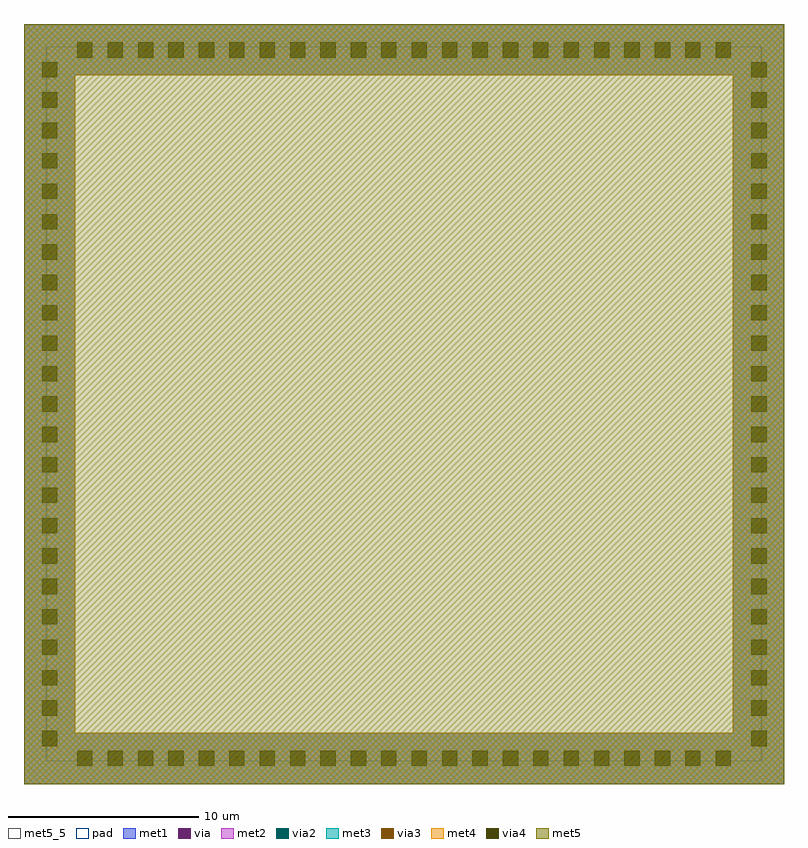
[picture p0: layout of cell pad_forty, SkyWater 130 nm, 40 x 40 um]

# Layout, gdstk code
import gdstk
lib = gdstk.Library(unit=1e-6, precision=1e-09)
def R(c, l, rs):  # rectangles x0, y0, x1, y1
    for r in rs: c.add(gdstk.rectangle(r[:2], r[2:], *l))
def A(c, l, x, y, w, h, nx, ny, dx, dy):  # array of equal rectangles
    R(c, l, [(x+i*dx, y+j*dy, x+i*dx+w, y+j*dy+h) for i in range(nx) for j in range(ny)])
met1 = (68, 20)
via = (68, 44)
met2 = (69, 20)
via2 = (69, 44)
met3 = (70, 20)
via3 = (70, 44)
met4 = (71, 20)
via4 = (71, 44)
met5_5 = (72, 5)
met5 = (72, 20)
pad = (76, 20)

pad_forty = lib.new_cell('pad_forty')
R(pad_forty, met1, [(0,0,40,2.7), (0,0,2.7,40), (37.3,0,40,40), (0,37.3,40,40)])
A(pad_forty, via, 3.125, 1.275, 0.15, 0.15, 22, 2, 1.6, 37.28)
A(pad_forty, via, 1.275, 2.325, 0.15, 0.15, 1, 23, 0, 1.6)
A(pad_forty, via, 38.605, 2.325, 0.15, 0.15, 1, 23, 0, 1.6)
R(pad_forty, met2, [(0,0,40,2.7), (0,0,2.7,40), (37.3,0,40,40), (0,37.3,40,40)])
A(pad_forty, via2, 3.1, 1.25, 0.2, 0.2, 22, 2, 1.6, 37.28)
A(pad_forty, via2, 1.25, 2.3, 0.2, 0.2, 1, 23, 0, 1.6)
A(pad_forty, via2, 38.58, 2.3, 0.2, 0.2, 1, 23, 0, 1.6)
R(pad_forty, met3, [(0,0,40,2.7), (0,0,2.7,40), (37.3,0,40,40), (0,37.3,40,40)])
A(pad_forty, via3, 3.1, 1.25, 0.2, 0.2, 22, 2, 1.6, 37.28)
A(pad_forty, via3, 1.25, 2.3, 0.2, 0.2, 1, 23, 0, 1.6)
A(pad_forty, via3, 38.58, 2.3, 0.2, 0.2, 1, 23, 0, 1.6)
R(pad_forty, met4, [(0,0,40,2.7), (0,0,2.7,40), (37.3,0,40,40), (0,37.3,40,40)])
A(pad_forty, via4, 2.8, 0.95, 0.8, 0.8, 22, 2, 1.6, 37.28)
A(pad_forty, via4, 0.95, 2, 0.8, 0.8, 1, 23, 0, 1.6)
A(pad_forty, via4, 38.28, 2, 0.8, 0.8, 1, 23, 0, 1.6)
R(pad_forty, met5_5, [(1.2,1.2,38.8,38.8)])
R(pad_forty, met5, [(0,0,40,40)])
R(pad_forty, pad, [(1.15,1.2,38.85,38.8)])

lib.write_gds('pad_forty.gds')
